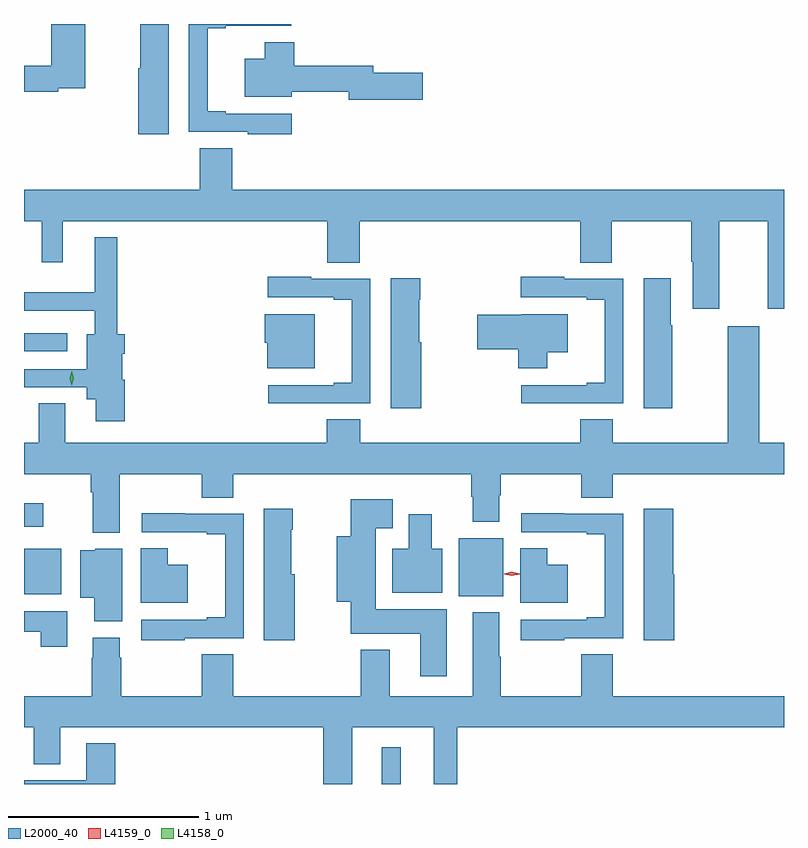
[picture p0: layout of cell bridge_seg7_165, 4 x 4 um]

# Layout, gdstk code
import gdstk
lib = gdstk.Library(unit=1e-6, precision=1e-09)
def R(c, l, rs):  # rectangles x0, y0, x1, y1
    for r in rs: c.add(gdstk.rectangle(r[:2], r[2:], *l))
def P(c, l, *ps):  # polygons
    for p in ps: c.add(gdstk.Polygon(p, *l))
L2000_40 = (2000, 40)
L4158_0 = (4158, 0)
L4159_0 = (4159, 0)

bridge_seg7_165 = lib.new_cell('bridge_seg7_165')
R(bridge_seg7_165, L2000_40, [(462.332,1028.289,462.43,1028.482), (462.737,1029.278,462.97,1029.583), (460.448,1029.287,460.645,1029.526), (460.448,1029.644,460.549,1029.766), (460.448,1030.566,460.675,1030.662)])
P(bridge_seg7_165, L2000_40, [(461.209,1032.289),(461.059,1032.289),(461.059,1032.057),(461.048,1032.057),(461.048,1031.709),(461.209,1031.709)],
  [(461.857,1031.817),(461.509,1031.817),(461.509,1031.83),(461.414,1031.83),(461.414,1032.267),(461.509,1032.267),(461.509,1032.279),(461.854,1032.279),(461.854,1032.289),(461.316,1032.289),(461.316,1031.721),(461.626,1031.721),(461.626,1031.709),(461.857,1031.709)],
  [(460.628,1031.952),(460.77,1031.952),(460.77,1032.289),(460.592,1032.289),(460.592,1032.068),(460.448,1032.068),(460.448,1031.932),(460.628,1031.932)],
  [(462.547,1032.032),(462.286,1032.032),(462.286,1032.068),(461.87,1032.068),(461.87,1032.194),(461.716,1032.194),(461.716,1032.106),(461.609,1032.106),(461.609,1031.906),(461.857,1031.906),(461.857,1031.932),(462.158,1031.932),(462.158,1031.89),(462.547,1031.89)],
  [(464.107,1031.252),(464.363,1031.252),(464.363,1030.791),(464.448,1030.791),(464.448,1031.416),(461.543,1031.416),(461.543,1031.636),(461.372,1031.636),(461.372,1031.416),(460.448,1031.416),(460.448,1031.252),(460.541,1031.252),(460.541,1031.034),(460.651,1031.034),(460.651,1031.252),(462.044,1031.252),(462.044,1031.032),(462.215,1031.032),(462.215,1031.252),(463.376,1031.252),(463.376,1031.032),(463.542,1031.032),(463.542,1031.252),(463.96,1031.252),(463.96,1031.038),(463.967,1031.038),(463.967,1030.791),(464.107,1030.791)],
  [(460.979,1030.417),(460.966,1030.417),(460.966,1030.553),(460.979,1030.553),(460.979,1030.657),(460.939,1030.657),(460.939,1031.167),(460.82,1031.167),(460.82,1030.876),(460.448,1030.876),(460.448,1030.779),(460.82,1030.779),(460.82,1030.657),(460.778,1030.657),(460.778,1030.473),(460.448,1030.473),(460.448,1030.377),(460.778,1030.377),(460.778,1030.313),(460.826,1030.313),(460.826,1030.197),(460.979,1030.197)],
  [(461.957,1030.293),(462.27,1030.293),(462.27,1030.947),(461.96,1030.947),(461.96,1030.96),(461.73,1030.96),(461.73,1030.851),(462.077,1030.851),(462.077,1030.839),(462.173,1030.839),(462.173,1030.402),(462.077,1030.402),(462.077,1030.389),(461.733,1030.389),(461.733,1030.292),(461.957,1030.292)],
  [(463.292,1030.293),(463.602,1030.293),(463.602,1030.947),(463.292,1030.947),(463.292,1030.96),(463.062,1030.96),(463.062,1030.851),(463.409,1030.851),(463.409,1030.839),(463.505,1030.839),(463.505,1030.402),(463.409,1030.402),(463.409,1030.389),(463.065,1030.389),(463.065,1030.292),(463.292,1030.292)],
  [(463.86,1030.703),(463.852,1030.703),(463.852,1030.951),(463.709,1030.951),(463.709,1030.266),(463.86,1030.266)],
  [(462.538,1030.614),(462.528,1030.614),(462.528,1030.838),(462.533,1030.838),(462.533,1030.951),(462.377,1030.951),(462.377,1030.266),(462.538,1030.266)],
  [(461.977,1030.762),(461.714,1030.762),(461.714,1030.611),(461.729,1030.611),(461.729,1030.478),(461.977,1030.478)],
  [(463.203,1030.562),(463.309,1030.562),(463.309,1030.762),(463.065,1030.762),(463.065,1030.76),(462.834,1030.76),(462.834,1030.577),(463.049,1030.577),(463.049,1030.478),(463.203,1030.478)],
  [(460.951,1029.92),(461.383,1029.92),(461.383,1029.796),(461.549,1029.796),(461.549,1029.92),(462.802,1029.92),(462.802,1029.8),(462.809,1029.8),(462.809,1029.668),(462.949,1029.668),(462.949,1029.808),(462.957,1029.808),(462.957,1029.92),(463.381,1029.92),(463.381,1029.796),(463.547,1029.796),(463.547,1029.92),(464.448,1029.92),(464.448,1030.084),(464.317,1030.084),(464.317,1030.699),(464.153,1030.699),(464.153,1030.084),(463.547,1030.084),(463.547,1030.208),(463.376,1030.208),(463.376,1030.084),(462.218,1030.084),(462.218,1030.208),(462.041,1030.208),(462.041,1030.084),(460.666,1030.084),(460.666,1030.292),(460.526,1030.292),(460.526,1030.084),(460.448,1030.084),(460.448,1029.92),(460.799,1029.92),(460.799,1029.824),(460.811,1029.824),(460.811,1029.611),(460.951,1029.611)],
  [(462.673,1029.208),(462.298,1029.208),(462.298,1029.635),(462.388,1029.635),(462.388,1029.787),(462.169,1029.787),(462.169,1029.592),(462.095,1029.592),(462.095,1029.248),(462.169,1029.248),(462.169,1029.08),(462.533,1029.08),(462.533,1028.856),(462.673,1028.856)],
  [(461.872,1029.393),(461.854,1029.393),(461.854,1029.626),(461.862,1029.626),(461.862,1029.739),(461.711,1029.739),(461.711,1029.045),(461.872,1029.045)],
  [(463.87,1029.393),(463.865,1029.393),(463.865,1029.739),(463.709,1029.739),(463.709,1029.045),(463.87,1029.045)],
  [(461.294,1029.057),(461.604,1029.057),(461.604,1029.711),(461.294,1029.711),(461.294,1029.713),(461.067,1029.713),(461.067,1029.615),(461.411,1029.615),(461.411,1029.603),(461.507,1029.603),(461.507,1029.166),(461.411,1029.166),(461.411,1029.153),(461.064,1029.153),(461.064,1029.045),(461.294,1029.045)],
  [(463.292,1029.057),(463.602,1029.057),(463.602,1029.711),(463.292,1029.711),(463.292,1029.713),(463.065,1029.713),(463.065,1029.615),(463.409,1029.615),(463.409,1029.603),(463.505,1029.603),(463.505,1029.166),(463.409,1029.166),(463.409,1029.153),(463.062,1029.153),(463.062,1029.045),(463.292,1029.045)],
  [(462.649,1029.526),(462.595,1029.526),(462.595,1029.709),(462.473,1029.709),(462.473,1029.526),(462.386,1029.526),(462.386,1029.296),(462.649,1029.296)],
  [(461.311,1029.442),(461.205,1029.442),(461.205,1029.53),(461.063,1029.53),(461.063,1029.242),(461.311,1029.242)],
  [(463.309,1029.442),(463.203,1029.442),(463.203,1029.53),(463.061,1029.53),(463.061,1029.242),(463.309,1029.242)],
  [(460.966,1029.526),(460.824,1029.526),(460.824,1029.52),(460.745,1029.52),(460.745,1029.269),(460.817,1029.269),(460.817,1029.145),(460.966,1029.145)],
  [(460.675,1029.198),(460.448,1029.198),(460.448,1029.09),(460.535,1029.09),(460.535,1029.012),(460.675,1029.012)],
  [(462.175,1028.588),(462.605,1028.588),(462.605,1028.289),(462.727,1028.289),(462.727,1028.588),(464.448,1028.588),(464.448,1028.752),(463.547,1028.752),(463.547,1028.972),(463.381,1028.972),(463.381,1028.752),(462.957,1028.752),(462.957,1028.96),(462.949,1028.96),(462.949,1029.193),(462.809,1029.193),(462.809,1028.752),(462.373,1028.752),(462.373,1028.995),(462.221,1028.995),(462.221,1028.752),(461.549,1028.752),(461.549,1028.972),(461.383,1028.972),(461.383,1028.752),(460.959,1028.752),(460.959,1028.954),(460.951,1028.954),(460.951,1029.06),(460.811,1029.06),(460.811,1028.954),(460.804,1028.954),(460.804,1028.752),(460.448,1028.752),(460.448,1028.588),(460.499,1028.588),(460.499,1028.394),(460.639,1028.394),(460.639,1028.588),(462.023,1028.588),(462.023,1028.289),(462.175,1028.289)],
  [(460.928,1028.503),(460.775,1028.503),(460.775,1028.308),(460.448,1028.308),(460.448,1028.289),(460.928,1028.289)])
P(bridge_seg7_165, L4158_0, [(460.699,1030.389),(460.699,1030.389),(460.689,1030.425),(460.7,1030.461),(460.7,1030.461),(460.7,1030.461),(460.709,1030.425),(460.699,1030.389)])
P(bridge_seg7_165, L4159_0, [(463.016,1029.385),(462.976,1029.394),(462.976,1029.395),(462.976,1029.395),(463.016,1029.405),(463.056,1029.395),(463.056,1029.394),(463.056,1029.394)])

lib.write_gds('bridge_seg7_165.gds')
